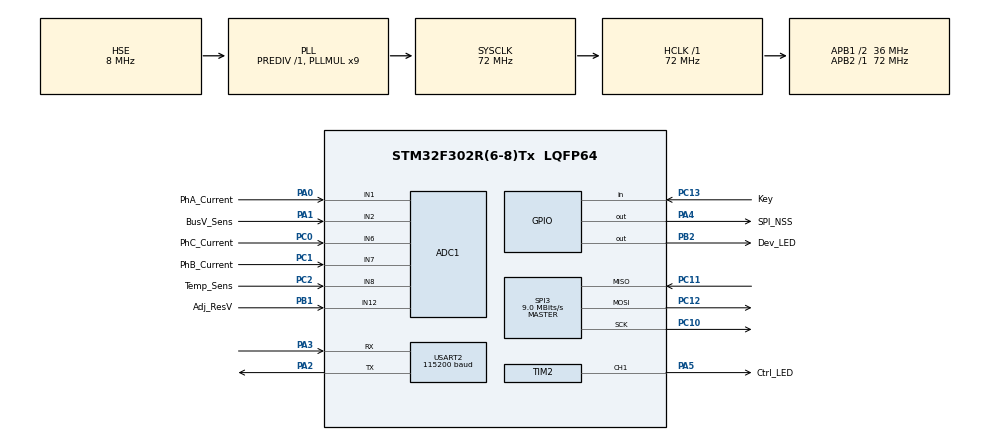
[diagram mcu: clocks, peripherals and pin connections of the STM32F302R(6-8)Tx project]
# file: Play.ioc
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ADC1.Channel-0\#ChannelRegularConversion=ADC_CHANNEL_12
ADC1.Channel-1\#ChannelRegularConversion=ADC_CHANNEL_TEMPSENSOR
ADC1.Channel-2\#ChannelRegularConversion=ADC_CHANNEL_8
ADC1.Channel-3\#ChannelRegularConversion=ADC_CHANNEL_2
ADC1.ClockPrescaler=ADC_CLOCK_SYNC_PCLK_DIV1
ADC1.ContinuousConvMode=ENABLE
ADC1.DMAContinuousRequests=ENABLE
ADC1.EOCSelection=ADC_EOC_SEQ_CONV
ADC1.EnableInjectedConversion=ENABLE
ADC1.ExternalTrigInjecConv=ADC_EXTERNALTRIGINJECCONV_T1_CC4
ADC1.InjNumberOfConversion=3
ADC1.InjectedChannel-4\#ChannelInjectedConversion=ADC_CHANNEL_1
ADC1.InjectedChannel-5\#ChannelInjectedConversion=ADC_CHANNEL_7
ADC1.InjectedChannel-6\#ChannelInjectedConversion=ADC_CHANNEL_6
ADC1.InjectedOffset-4\#ChannelInjectedConversion=0
ADC1.InjectedOffset-5\#ChannelInjectedConversion=0
ADC1.InjectedOffset-6\#ChannelInjectedConversion=0
ADC1.InjectedOffsetNumber-4\#ChannelInjectedConversion=ADC_OFFSET_NONE
ADC1.InjectedOffsetNumber-5\#ChannelInjectedConversion=ADC_OFFSET_NONE
ADC1.InjectedOffsetNumber-6\#ChannelInjectedConversion=ADC_OFFSET_NONE
ADC1.InjectedRank-4\#ChannelInjectedConversion=1
ADC1.InjectedRank-5\#ChannelInjectedConversion=2
ADC1.InjectedRank-6\#ChannelInjectedConversion=3
ADC1.InjectedSamplingTime-4\#ChannelInjectedConversion=ADC_SAMPLETIME_181CYCLES_5
ADC1.InjectedSamplingTime-5\#ChannelInjectedConversion=ADC_SAMPLETIME_181CYCLES_5
ADC1.InjectedSamplingTime-6\#ChannelInjectedConversion=ADC_SAMPLETIME_181CYCLES_5
ADC1.NbrOfConversion=4
ADC1.NbrOfConversionFlag=1
ADC1.Offset-0\#ChannelRegularConversion=0
ADC1.Offset-1\#ChannelRegularConversion=0
ADC1.Offset-2\#ChannelRegularConversion=0
ADC1.Offset-3\#ChannelRegularConversion=0
ADC1.OffsetNumber-0\#ChannelRegularConversion=ADC_OFFSET_NONE
ADC1.OffsetNumber-1\#ChannelRegularConversion=ADC_OFFSET_NONE
ADC1.OffsetNumber-2\#ChannelRegularConversion=ADC_OFFSET_NONE
ADC1.OffsetNumber-3\#ChannelRegularConversion=ADC_OFFSET_NONE
ADC1.Rank-0\#ChannelRegularConversion=1
ADC1.Rank-1\#ChannelRegularConversion=2
ADC1.Rank-2\#ChannelRegularConversion=3
ADC1.Rank-3\#ChannelRegularConversion=4
ADC1.SamplingTime-0\#ChannelRegularConversion=ADC_SAMPLETIME_601CYCLES_5
ADC1.SamplingTime-1\#ChannelRegularConversion=ADC_SAMPLETIME_601CYCLES_5
ADC1.SamplingTime-2\#ChannelRegularConversion=ADC_SAMPLETIME_601CYCLES_5
ADC1.SamplingTime-3\#ChannelRegularConversion=ADC_SAMPLETIME_601CYCLES_5
ADC1.SubFamily=STM32F302x8
ADC1.master=1
Dma.ADC1.0.Direction=DMA_PERIPH_TO_MEMORY
Dma.ADC1.0.Instance=DMA1_Channel1
Dma.ADC1.0.MemDataAlignment=DMA_MDATAALIGN_HALFWORD
Dma.ADC1.0.MemInc=DMA_MINC_ENABLE
Dma.ADC1.0.Mode=DMA_CIRCULAR
Dma.ADC1.0.PeriphDataAlignment=DMA_PDATAALIGN_HALFWORD
Dma.ADC1.0.PeriphInc=DMA_PINC_DISABLE
Dma.ADC1.0.Priority=DMA_PRIORITY_HIGH
Dma.Request0=ADC1
Dma.Request1=SPI3_RX
Dma.Request2=SPI3_TX
Dma.SPI3_RX.1.Direction=DMA_PERIPH_TO_MEMORY
Dma.SPI3_RX.1.Instance=DMA1_Channel2
Dma.SPI3_RX.1.MemDataAlignment=DMA_MDATAALIGN_HALFWORD
Dma.SPI3_RX.1.MemInc=DMA_MINC_ENABLE
Dma.SPI3_RX.1.Mode=DMA_NORMAL
Dma.SPI3_RX.1.PeriphDataAlignment=DMA_PDATAALIGN_HALFWORD
Dma.SPI3_RX.1.PeriphInc=DMA_PINC_DISABLE
Dma.SPI3_RX.1.Priority=DMA_PRIORITY_LOW
Dma.SPI3_TX.2.Direction=DMA_MEMORY_TO_PERIPH
Dma.SPI3_TX.2.Instance=DMA1_Channel3
Dma.SPI3_TX.2.MemDataAlignment=DMA_MDATAALIGN_HALFWORD
Dma.SPI3_TX.2.MemInc=DMA_MINC_ENABLE
Dma.SPI3_TX.2.Mode=DMA_NORMAL
Dma.SPI3_TX.2.PeriphDataAlignment=DMA_PDATAALIGN_HALFWORD
Dma.SPI3_TX.2.PeriphInc=DMA_PINC_DISABLE
Dma.SPI3_TX.2.Priority=DMA_PRIORITY_LOW
Mcu.Family=STM32F3
Mcu.Name=STM32F302R(6-8)Tx
Mcu.Package=LQFP64
NVIC.ADC1_IRQn=true\:4\:0\:true\:false\:true\:true\:true
NVIC.DMA1_Channel1_IRQn=true\:0\:0\:true\:false\:true\:false\:true
NVIC.DMA1_Channel2_IRQn=true\:5\:0\:true\:false\:true\:false\:true
NVIC.DMA1_Channel3_IRQn=true\:5\:0\:true\:false\:true\:false\:true
NVIC.PriorityGroup=NVIC_PRIORITYGROUP_4
NVIC.TIM1_UP_TIM16_IRQn=true\:0\:0\:false\:false\:true\:true\:true
NVIC.TIM6_DAC_IRQn=true\:0\:0\:false\:false\:true\:true\:true
NVIC.USART2_IRQn=true\:6\:0\:true\:false\:true\:true\:true
PA0.GPIO_Label=PhA_Current
PA0.Mode=IN1-Single-Ended
PA0.Signal=ADC1_IN1
PA1.GPIO_Label=BusV_Sens
PA1.Mode=IN2-Single-Ended
PA1.Signal=ADC1_IN2
PA13.Mode=Serial_Wire
PA13.Signal=SYS_JTMS-SWDIO
PA14.Mode=Serial_Wire
PA14.Signal=SYS_JTCK-SWCLK
PA2.Mode=Asynchronous
PA2.Signal=USART2_TX
PA3.Mode=Asynchronous
PA3.Signal=USART2_RX
PA4.GPIO_Label=SPI_NSS
PA4.GPIO_PuPd=GPIO_PULLUP
PA4.PinState=GPIO_PIN_SET
PA4.Signal=GPIO_Output
PA5.GPIO_Label=Ctrl_LED
PA5.GPIO_Speed=GPIO_SPEED_FREQ_HIGH
PA5.Signal=S_TIM2_CH1_ETR
PB1.GPIO_Label=Adj_ResV
PB1.Mode=IN12-Single-Ended
PB1.Signal=ADC1_IN12
PB2.GPIO_Label=Dev_LED
PB2.GPIO_Speed=GPIO_SPEED_FREQ_MEDIUM
PB2.PinState=GPIO_PIN_SET
PB2.Signal=GPIO_Output
PC0.GPIO_Label=PhC_Current
PC0.Signal=ADCx_IN6
PC1.GPIO_Label=PhB_Current
PC1.Signal=ADCx_IN7
PC10.Mode=Full_Duplex_Master
PC10.Signal=SPI3_SCK
PC11.Mode=Full_Duplex_Master
PC11.Signal=SPI3_MISO
PC12.Mode=Full_Duplex_Master
PC12.Signal=SPI3_MOSI
PC13.GPIO_Label=Key
PC13.Signal=GPIO_Input
PC2.GPIO_Label=Temp_Sens
PC2.Signal=ADCx_IN8
PF0-OSC_IN.Mode=HSE-External-Oscillator
PF0-OSC_IN.Signal=RCC_OSC_IN
PF1-OSC_OUT.Mode=HSE-External-Oscillator
PF1-OSC_OUT.Signal=RCC_OSC_OUT
ProjectManager.HeapSize=0x200
ProjectManager.StackSize=0x400
ProjectManager.TargetToolchain=MDK-ARM V5.27
RCC.AHBFreq_Value=72000000
RCC.APB1CLKDivider=RCC_HCLK_DIV2
RCC.APB1Freq_Value=36000000
RCC.APB1TimFreq_Value=72000000
RCC.APB2Freq_Value=72000000
RCC.APB2TimFreq_Value=72000000
RCC.CortexFreq_Value=72000000
RCC.HCLKFreq_Value=72000000
RCC.HSE_VALUE=8000000
RCC.HSI_VALUE=8000000
RCC.LSE_VALUE=32768
RCC.PLLMUL=RCC_PLL_MUL9
RCC.PLLSourceVirtual=RCC_PLLSOURCE_HSE
RCC.SYSCLKFreq_VALUE=72000000
RCC.SYSCLKSourceVirtual=RCC_SYSCLKSOURCE_PLLCLK
RCC.TIM16Selection=RCC_TIM16CLK_PLLCLK
RCC.USBFreq_Value=72000000
SH.ADCx_IN6.0=ADC1_IN6,IN6-Single-Ended
SH.ADCx_IN7.0=ADC1_IN7,IN7-Single-Ended
SH.ADCx_IN8.0=ADC1_IN8,IN8-Single-Ended
SH.S_TIM2_CH1_ETR.0=TIM2_CH1,PWM Generation1 CH1
SPI3.BaudRatePrescaler=SPI_BAUDRATEPRESCALER_4
SPI3.CLKPhase=SPI_PHASE_2EDGE
SPI3.CRCCalculation=SPI_CRCCALCULATION_DISABLE
SPI3.CalculateBaudRate=9.0 MBits/s
SPI3.DataSize=SPI_DATASIZE_16BIT
SPI3.Direction=SPI_DIRECTION_2LINES
SPI3.Mode=SPI_MODE_MASTER
SPI3.TIMode=SPI_TIMODE_DISABLE
SPI3.VirtualType=VM_MASTER
TIM16.AutoReloadPreload=TIM_AUTORELOAD_PRELOAD_ENABLE
TIM16.Period=65535
TIM16.Prescaler=0
TIM16.RepetitionCounter=0
TIM2.AutoReloadPreload=TIM_AUTORELOAD_PRELOAD_ENABLE
TIM2.Channel-PWM\ Generation1\ CH1=TIM_CHANNEL_1
TIM2.Period=999
TIM2.Prescaler=71
TIM2.Pulse-PWM\ Generation1\ CH1=499
TIM6.AutoReloadPreload=TIM_AUTORELOAD_PRELOAD_DISABLE
TIM6.Period=20000
TIM6.Prescaler=35
TIM6.TIM_MasterOutputTrigger=TIM_TRGO_RESET
USART2.BaudRate=115200
USART2.OneBitSampling=UART_ONE_BIT_SAMPLE_DISABLE
USART2.VirtualMode-Asynchronous=VM_ASYNC
VP_ADC1_TempSens_Input.Mode=IN-TempSens
VP_TIM16_VS_ClockSourceINT.Mode=Enable_Timer
VP_TIM2_VS_ClockSourceINT.Mode=Internal
VP_TIM6_VS_ClockSourceINT.Mode=Enable_Timer
VP_TIM6_VS_OPM.Mode=OPM_bit
board=custom

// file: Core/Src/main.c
/* USER CODE BEGIN Header */
/**
  ******************************************************************************
  * @file           : main.c
  * @brief          : Main program body
  ******************************************************************************
  * @attention
  *
  * <h2><center>&copy; Copyright (c) 2020 STMicroelectronics.
  * All rights reserved.</center></h2>
  *
  * This software component is licensed by ST under BSD 3-Clause license,
  * the "License"; You may not use this file except in compliance with the
  * License. You may obtain a copy of the License at:
  *                        opensource.org/licenses/BSD-3-Clause
  *
  ******************************************************************************
  */
/* USER CODE END Header */

#include "main.h"
#include "adc.h"
#include "dma.h"
#include "spi.h"
#include "tim.h"
#include "usart.h"
#include "gpio.h"

/* USER CODE BEGIN Includes */
#include "UserKey.h"
#include "UserLED.h"
#include "AD_Monitor.h"
#include "TinyDelay.h"
#include "AS5048a.h"
#include "Time_Reference.h"
/* USER CODE END Includes */

void SystemClock_Config(void);
/* USER CODE BEGIN PFP */
//bool AS5048a_ReadWrite_DMA(pAS5048a_t pDev, uint16_t *pTxBuffer, volatile uint16_t *pRxBuffer);
//bool AS5048a_ReadWrite_Block(pAS5048a_t pDevice, uint16_t *pTxBuffer, volatile uint16_t *pRxBuffer);
/* USER CODE END PFP */

/* USER CODE BEGIN 0 */
#define SYS_TICK_FREQUENCY 2000
uint32_t Temp = 0;
uint8_t Temp_ch = '\0';
uint32_t DelayCnt = 0;
uint32_t i = 0;
uint16_t TempCMD = AS5048A_CMD_READANGLE;
uint16_t TempRead = 0;
/* USER CODE END 0 */

int main(void)
{
  /* USER CODE BEGIN 1 */
    const char Str[] = "Hello!";
  /* USER CODE END 1 */

  /* MCU Configuration--------------------------------------------------------*/

  /* Reset of all peripherals, Initializes the Flash interface and the Systick. */
  HAL_Init();

  /* Configure the system clock */
  SystemClock_Config();

  /* Initialize all configured peripherals */
  MX_GPIO_Init();
  MX_DMA_Init();
  MX_ADC1_Init();
  MX_USART2_UART_Init();
  MX_TIM2_Init();
  MX_SPI3_Init();
  MX_TIM6_Init();
  MX_TIM16_Init();
  /* USER CODE BEGIN 2 */

    //延时100ms等待系统电源稳定
    HAL_Delay(100);

    /* Reconfigure the SysTick interrupt to fire every 500 us. */
    HAL_SYSTICK_Config(HAL_RCC_GetHCLKFreq()/SYS_TICK_FREQUENCY);

    //获取系统频率
    Temp = HAL_RCC_GetSysClockFreq();

    //开启串口接收(测试用)
    HAL_UART_Receive_IT(&huart2, &Temp_ch, 1);

    //启动定时器时基
    HAL_TIM_Base_Start(&htim2);

    //初始化用户按键
    UserKeyInit();

    //初始化用户LED
    UserLED_Init();

    //AD监视器初始化
    AD_MonitorInit();

    //获取ADC频率
    Temp = HAL_RCCEx_GetPeriphCLKFreq(RCC_PERIPHCLK_ADC1);

    //初始化延时
    TinyDelayInit(&htim6, 72);

    //初始化工作时间基准
    TimeRef_Init(&htim16, 144);

    //开始计时
    TimeRef_Start();

    //AS5048a初始化
    AS5048a_Init(&AS5048a, 15000, GPIOA, GPIO_PIN_4, &hspi3, 49478, 5);

    //测试发送字节
    HAL_UART_Transmit_IT(&huart2, (uint8_t*)Str, sizeof(Str));

    Temp = sizeof(AS5048a_AGCR_t);

//    for(i = 0; i < 1000000; i++)
//    {
//        while(AS5048A_STATE_BUSY == AS5048a.State);
//        AS5048a_ReadWrite_Block(&AS5048a, &TempCMD, &TempRead);
//    }

  /* USER CODE END 2 */

  /* Infinite loop */
  /* USER CODE BEGIN WHILE */
  while (1)
  {
      //按键事件监视与响应
      Key_EventScan();

      //LED任务执行
      LED_TaskLoop();

      //转换监视的ADC值
      RegularDataDeal();

      //更新总秒数
      TimeRef_GetTotal();

    /* USER CODE END WHILE */

  }
}

void SystemClock_Config(void)
{
  RCC_OscInitTypeDef RCC_OscInitStruct = {0};
  RCC_ClkInitTypeDef RCC_ClkInitStruct = {0};
  RCC_PeriphCLKInitTypeDef PeriphClkInit = {0};

  /** Initializes the CPU, AHB and APB busses clocks
  */
  RCC_OscInitStruct.OscillatorType = RCC_OSCILLATORTYPE_HSE;
  RCC_OscInitStruct.HSEState = RCC_HSE_ON;
  RCC_OscInitStruct.HSEPredivValue = RCC_HSE_PREDIV_DIV1;
  RCC_OscInitStruct.HSIState = RCC_HSI_ON;
  RCC_OscInitStruct.PLL.PLLState = RCC_PLL_ON;
  RCC_OscInitStruct.PLL.PLLSource = RCC_PLLSOURCE_HSE;
  RCC_OscInitStruct.PLL.PLLMUL = RCC_PLL_MUL9;
  if (HAL_RCC_OscConfig(&RCC_OscInitStruct) != HAL_OK)
  {
    Error_Handler();
  }
  /** Initializes the CPU, AHB and APB busses clocks
  */
  RCC_ClkInitStruct.ClockType = RCC_CLOCKTYPE_HCLK|RCC_CLOCKTYPE_SYSCLK
                              |RCC_CLOCKTYPE_PCLK1|RCC_CLOCKTYPE_PCLK2;
  RCC_ClkInitStruct.SYSCLKSource = RCC_SYSCLKSOURCE_PLLCLK;
  RCC_ClkInitStruct.AHBCLKDivider = RCC_SYSCLK_DIV1;
  RCC_ClkInitStruct.APB1CLKDivider = RCC_HCLK_DIV2;
  RCC_ClkInitStruct.APB2CLKDivider = RCC_HCLK_DIV1;

  if (HAL_RCC_ClockConfig(&RCC_ClkInitStruct, FLASH_LATENCY_2) != HAL_OK)
  {
    Error_Handler();
  }
  PeriphClkInit.PeriphClockSelection = RCC_PERIPHCLK_TIM16;
  PeriphClkInit.Tim16ClockSelection = RCC_TIM16CLK_PLLCLK;
  if (HAL_RCCEx_PeriphCLKConfig(&PeriphClkInit) != HAL_OK)
  {
    Error_Handler();
  }
}

void Error_Handler(void)
{
}

/************************ (C) COPYRIGHT STMicroelectronics *****END OF FILE****/
